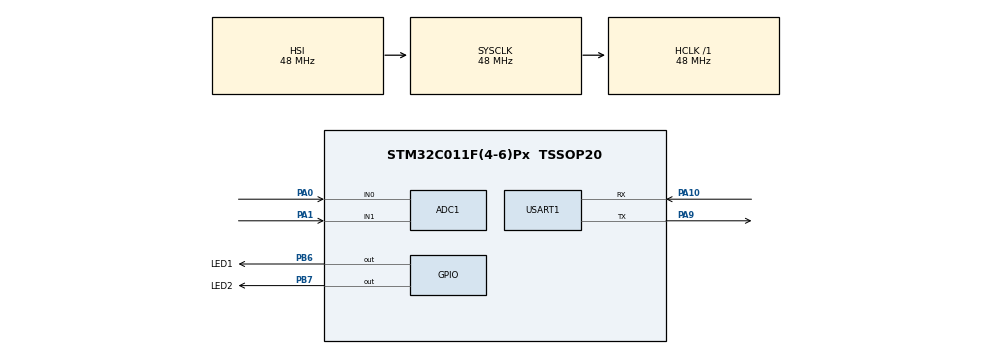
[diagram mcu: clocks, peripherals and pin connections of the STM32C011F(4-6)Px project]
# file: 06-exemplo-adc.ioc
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ADC1.Channel-0\#ChannelRegularConversion=ADC_CHANNEL_0
ADC1.Channel-1\#ChannelRegularConversion=ADC_CHANNEL_1
ADC1.DMAContinuousRequests=ENABLE
ADC1.ExternalTrigConv=ADC_EXTERNALTRIG_T3_TRGO
ADC1.NbrOfConversion=2
ADC1.NbrOfConversionFlag=1
ADC1.Rank-0\#ChannelRegularConversion=1
ADC1.Rank-1\#ChannelRegularConversion=2
ADC1.SamplingTime-0\#ChannelRegularConversion=ADC_SAMPLINGTIME_COMMON_1
ADC1.SamplingTime-1\#ChannelRegularConversion=ADC_SAMPLINGTIME_COMMON_1
ADC1.SamplingTimeCommon1=ADC_SAMPLETIME_160CYCLES_5
ADC1.SelectedChannel=ADC_CHANNEL_0|ADC_CHANNEL_1
ADC1.master=1
Dma.ADC1.0.Direction=DMA_PERIPH_TO_MEMORY
Dma.ADC1.0.EventEnable=DISABLE
Dma.ADC1.0.Instance=DMA1_Channel1
Dma.ADC1.0.MemDataAlignment=DMA_MDATAALIGN_HALFWORD
Dma.ADC1.0.MemInc=DMA_MINC_ENABLE
Dma.ADC1.0.Mode=DMA_CIRCULAR
Dma.ADC1.0.PeriphDataAlignment=DMA_PDATAALIGN_HALFWORD
Dma.ADC1.0.PeriphInc=DMA_PINC_DISABLE
Dma.ADC1.0.Polarity=HAL_DMAMUX_REQ_GEN_RISING
Dma.ADC1.0.Priority=DMA_PRIORITY_LOW
Dma.ADC1.0.RequestNumber=1
Dma.ADC1.0.SignalID=NONE
Dma.ADC1.0.SyncEnable=DISABLE
Dma.ADC1.0.SyncPolarity=HAL_DMAMUX_SYNC_NO_EVENT
Dma.ADC1.0.SyncRequestNumber=1
Dma.ADC1.0.SyncSignalID=NONE
Dma.Request0=ADC1
Mcu.Family=STM32C0
Mcu.Name=STM32C011F(4-6)Px
Mcu.Package=TSSOP20
NVIC.ADC1_IRQn=true\:0\:0\:false\:false\:true\:true\:true\:true
NVIC.DMA1_Channel1_IRQn=true\:0\:0\:false\:false\:true\:false\:true\:true
NVIC.TIM3_IRQn=true\:0\:0\:false\:false\:true\:true\:true\:true
PA0.Mode=IN0
PA0.Signal=ADC1_IN0
PA1.Mode=IN1
PA1.Signal=ADC1_IN1
PA10\ [PA12].Mode=Asynchronous
PA10\ [PA12].Signal=USART1_RX
PA13.Mode=Serial_Wire
PA13.Signal=DEBUG_SWDIO
PA14-BOOT0.Mode=Serial_Wire
PA14-BOOT0.Signal=DEBUG_SWCLK
PA9\ [PA11].Mode=Asynchronous
PA9\ [PA11].Signal=USART1_TX
PB6.GPIO_Label=LED1
PB6.Signal=GPIO_Output
PB7.GPIO_Label=LED2
PB7.Signal=GPIO_Output
ProjectManager.HeapSize=0x200
ProjectManager.StackSize=0x400
ProjectManager.TargetToolchain=STM32CubeIDE
RCC.ADCFreq_Value=48000000
RCC.AHBFreq_Value=48000000
RCC.CortexFreq_Value=48000000
RCC.EXTERNAL_CLOCK_VALUE=12288000
RCC.HCLKFreq_Value=48000000
RCC.HSE_VALUE=8000000
RCC.HSISYSCLKDivider=RCC_HSI_DIV1
RCC.HSI_VALUE=48000000
RCC.LSE_VALUE=32768
RCC.SYSCLKFreq_VALUE=48000000
TIM3.Period=(100 - 1)
TIM3.Prescaler=(48000 - 1)
TIM3.TIM_MasterOutputTrigger=TIM_TRGO_UPDATE
TIM3.TIM_MasterSlaveMode=TIM_MASTERSLAVEMODE_ENABLE
USART1.VirtualMode-Asynchronous=VM_ASYNC
VP_SYS_VS_PINREMAP.Mode=PINREMAP
VP_SYS_VS_PINREMAP_10_12.Mode=PINREMAP_10_12
VP_TIM3_VS_ClockSourceINT.Mode=Internal
board=custom

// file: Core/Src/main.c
/* USER CODE BEGIN Header */
/**
  ******************************************************************************
  * @file           : main.c
  * @brief          : Main program body
  ******************************************************************************
  * @attention
  *
  * Copyright (c) 2023 STMicroelectronics.
  * All rights reserved.
  *
  * This software is licensed under terms that can be found in the LICENSE file
  * in the root directory of this software component.
  * If no LICENSE file comes with this software, it is provided AS-IS.
  *
  ******************************************************************************
  */
/* USER CODE END Header */
#include "main.h"
#include "adc.h"
#include "dma.h"
#include "tim.h"
#include "usart.h"
#include "gpio.h"

/* USER CODE BEGIN Includes */

#include <stdio.h>	// Biblioteca necessária para utilização da função "sprintf()"
#include <string.h>	// Biblioteca necessária para utilização da função "strlen()"

#include "adconverter.h"	// Biblioteca auxiliar para ADC

/* USER CODE END Includes */

void SystemClock_Config(void);

int main(void)
{
  /* USER CODE BEGIN 1 */

	uint8_t uart_buffer[40];// Vetor para transmissão serial

	uint8_t i = 0;			// Variável auxiliar para contagens

  /* USER CODE END 1 */

  /* MCU Configuration--------------------------------------------------------*/

  /* Reset of all peripherals, Initializes the Flash interface and the Systick. */
  HAL_Init();

  /* Configure the system clock */
  SystemClock_Config();

  /* USER CODE BEGIN SysInit */

  //MX_DMA_Init();

  /* USER CODE END SysInit */

  /* Initialize all configured peripherals */
  MX_GPIO_Init();
  MX_DMA_Init();															// Imprescindível que o DMA seja inicializado antes dos demais periféricos que o utilizam
  MX_TIM3_Init();
  MX_ADC1_Init();
  MX_USART1_UART_Init();
  /* USER CODE BEGIN 2 */

  HAL_ADCEx_Calibration_Start(&hadc1);										// Rotina de calibração do ADC
  HAL_ADC_Start_DMA(&hadc1, (uint32_t *)adc_buffer, ADC_ACTIVE_CHANNELS);	// Inicia operação do ADC com DMA para canais ativos
  HAL_TIM_Base_Start_IT(&htim3);											// Inicia base de tempo para coversões A/D (100 ms)

  /* USER CODE END 2 */

  /* Infinite loop */
  /* USER CODE BEGIN WHILE */
  while (1)
  {

	  if (flag_ADC_EOC)	// Faz tratamento dos dados sempre que um
	  {					// conjunto de conversões do ADC é realizado

		  for (i = 0; i < ADC_ACTIVE_CHANNELS; i++)	// Conversão das leituras do ADC em tensão (mV)
		  {
			  adc_mV[i] = 3300 * adc_buffer[i] / 4096;
		  }

		  if (adc_mV[0] >= 1500)					// Acende LED2 se tensão no canal 1 é maior que 1.5V
		  {
			  HAL_GPIO_WritePin(LED2_GPIO_Port, LED2_Pin, 1);
		  }
		  else
		  {
			  HAL_GPIO_WritePin(LED2_GPIO_Port, LED2_Pin, 0);
		  }

		  // Envia dados das leituras pela serial:
		  sprintf((char *)uart_buffer, "ADC[0]: %4d mV ; ADC[1]: %4d mV \r\n", adc_mV[0], adc_mV[1]);
		  HAL_UART_Transmit(&huart1, uart_buffer, strlen((char *)uart_buffer), 50);

		  flag_ADC_EOC = 0;	// Reseta flag para tratamento das conversões do ADC
	  }

    /* USER CODE END WHILE */

  }
}

void SystemClock_Config(void)
{
  RCC_OscInitTypeDef RCC_OscInitStruct = {0};
  RCC_ClkInitTypeDef RCC_ClkInitStruct = {0};

  /** Initializes the RCC Oscillators according to the specified parameters
  * in the RCC_OscInitTypeDef structure.
  */
  RCC_OscInitStruct.OscillatorType = RCC_OSCILLATORTYPE_HSI;
  RCC_OscInitStruct.HSIState = RCC_HSI_ON;
  RCC_OscInitStruct.HSIDiv = RCC_HSI_DIV1;
  RCC_OscInitStruct.HSICalibrationValue = RCC_HSICALIBRATION_DEFAULT;
  if (HAL_RCC_OscConfig(&RCC_OscInitStruct) != HAL_OK)
  {
    Error_Handler();
  }

  /** Initializes the CPU, AHB and APB buses clocks
  */
  RCC_ClkInitStruct.ClockType = RCC_CLOCKTYPE_HCLK|RCC_CLOCKTYPE_SYSCLK
                              |RCC_CLOCKTYPE_PCLK1;
  RCC_ClkInitStruct.SYSCLKSource = RCC_SYSCLKSOURCE_HSI;
  RCC_ClkInitStruct.SYSCLKDivider = RCC_SYSCLK_DIV1;
  RCC_ClkInitStruct.AHBCLKDivider = RCC_HCLK_DIV1;
  RCC_ClkInitStruct.APB1CLKDivider = RCC_APB1_DIV1;

  if (HAL_RCC_ClockConfig(&RCC_ClkInitStruct, FLASH_LATENCY_1) != HAL_OK)
  {
    Error_Handler();
  }
}

void Error_Handler(void)
{
  __disable_irq();
  while (1)
  {
  }
}
